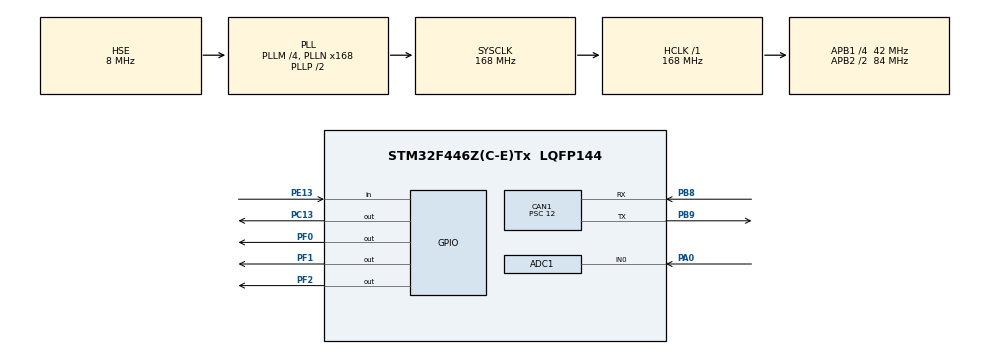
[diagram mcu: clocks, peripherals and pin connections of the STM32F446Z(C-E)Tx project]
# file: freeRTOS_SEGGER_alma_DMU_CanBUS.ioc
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ADC1.Channel-0\#ChannelRegularConversion=ADC_CHANNEL_0
ADC1.NbrOfConversionFlag=1
ADC1.Rank-0\#ChannelRegularConversion=1
ADC1.SamplingTime-0\#ChannelRegularConversion=ADC_SAMPLETIME_3CYCLES
ADC1.master=1
CAN1.BS1=CAN_BS1_11TQ
CAN1.BS2=CAN_BS2_2TQ
CAN1.CalculateBaudRate=250000
CAN1.CalculateTimeBit=4000
CAN1.CalculateTimeQuantum=285.7142857142857
CAN1.Prescaler=12
FREERTOS.Tasks01=defaultTask,24,128,StartDefaultTask,Default,NULL,Dynamic,NULL,NULL;myTask02,16,128,StartTask02,Default,NULL,Dynamic,NULL,NULL;myTask03,16,128,StartTask03,Default,NULL,Dynamic,NULL,NULL
FREERTOS.configUSE_NEWLIB_REENTRANT=1
Mcu.Family=STM32F4
Mcu.Name=STM32F446Z(C-E)Tx
Mcu.Package=LQFP144
NVIC.CAN1_RX0_IRQn=true\:5\:0\:false\:false\:true\:true\:true\:true\:true
NVIC.PriorityGroup=NVIC_PRIORITYGROUP_4
PA0-WKUP.Signal=ADCx_IN0
PA13.Mode=Serial_Wire
PA13.Signal=SYS_JTMS-SWDIO
PA14.Mode=Serial_Wire
PA14.Signal=SYS_JTCK-SWCLK
PB8.Mode=CAN_Activate
PB8.Signal=CAN1_RX
PB9.Mode=CAN_Activate
PB9.Signal=CAN1_TX
PC13.Signal=GPIO_Output
PE13.Signal=GPIO_Input
PF0.Signal=GPIO_Output
PF1.Signal=GPIO_Output
PF2.Signal=GPIO_Output
PH0-OSC_IN.Mode=HSE-External-Oscillator
PH0-OSC_IN.Signal=RCC_OSC_IN
PH1-OSC_OUT.Mode=HSE-External-Oscillator
PH1-OSC_OUT.Signal=RCC_OSC_OUT
ProjectManager.HeapSize=0x200
ProjectManager.StackSize=0x400
ProjectManager.TargetToolchain=STM32CubeIDE
RCC.AHBFreq_Value=168000000
RCC.APB1CLKDivider=RCC_HCLK_DIV4
RCC.APB1Freq_Value=42000000
RCC.APB1TimFreq_Value=84000000
RCC.APB2CLKDivider=RCC_HCLK_DIV2
RCC.APB2Freq_Value=84000000
RCC.APB2TimFreq_Value=168000000
RCC.CortexFreq_Value=168000000
RCC.HCLKFreq_Value=168000000
RCC.HSE_VALUE=8000000
RCC.PLLM=4
RCC.PLLN=168
RCC.PLLSourceVirtual=RCC_PLLSOURCE_HSE
RCC.SYSCLKFreq_VALUE=168000000
RCC.SYSCLKSource=RCC_SYSCLKSOURCE_PLLCLK
RCC.USBFreq_Value=168000000
RCC.VCOOutputFreq_Value=336000000
SH.ADCx_IN0.0=ADC1_IN0,IN0
VP_FREERTOS_VS_CMSIS_V2.Mode=CMSIS_V2
board=custom

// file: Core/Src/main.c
/* USER CODE BEGIN Header */
/**
  ******************************************************************************
  * @file           : main.c
  * @brief          : Main program body
  ******************************************************************************
  * @attention
  *
  * Copyright (c) 2024 STMicroelectronics.
  * All rights reserved.
  *
  * This software is licensed under terms that can be found in the LICENSE file
  * in the root directory of this software component.
  * If no LICENSE file comes with this software, it is provided AS-IS.
  *
  ******************************************************************************
  */
/* USER CODE END Header */
#include "main.h"
#include "cmsis_os.h"

/* USER CODE BEGIN Includes */

#include "FreeRTOS.h"
#include <stdio.h>
#include <stdbool.h>
#include "task.h"
#include "SEGGER_RTT.h"
#include "SEGGER_SYSVIEW_Conf.h"
#include "SEGGER_SYSVIEW.h"

/* USER CODE END Includes */

/* USER CODE BEGIN PD */
CAN_FilterTypeDef sFilterConfig;

/* USER CODE END PD */

ADC_HandleTypeDef hadc1;

CAN_HandleTypeDef hcan1;

/* Definitions for defaultTask */
osThreadId_t defaultTaskHandle;
const osThreadAttr_t defaultTask_attributes = {
  .name = "defaultTask",
  .stack_size = 128 * 4,
  .priority = (osPriority_t) osPriorityNormal,
};
/* Definitions for myTask02 */
osThreadId_t myTask02Handle;
const osThreadAttr_t myTask02_attributes = {
  .name = "myTask02",
  .stack_size = 128 * 4,
  .priority = (osPriority_t) osPriorityBelowNormal,
};
/* Definitions for myTask03 */
osThreadId_t myTask03Handle;
const osThreadAttr_t myTask03_attributes = {
  .name = "myTask03",
  .stack_size = 128 * 4,
  .priority = (osPriority_t) osPriorityBelowNormal,
};

void SystemClock_Config(void);
static void MX_GPIO_Init(void);
static void MX_CAN1_Init(void);
static void MX_ADC1_Init(void);
void StartDefaultTask(void *argument);
void StartTask02(void *argument);
void StartTask03(void *argument);

/* USER CODE BEGIN 0 */

uint32_t amp1_buff1[1];
uint32_t amp1_buff2[1];

typedef struct {
    CAN_TxHeaderTypeDef pTxHeader; // Mesaj başlığı
    CAN_RxHeaderTypeDef RxHeader;

    uint8_t TxData[1];            // Veri
    uint32_t TxMailbox;           // Mailbox ID
    uint8_t RxData[1];            // Alınan veri
    uint16_t feedback_amp;        // Geri bildirim verisi
} CAN_MessageTypeDef;
CAN_MessageTypeDef amp1;

/* USER CODE END 0 */

int main(void)
{
  /* USER CODE BEGIN 1 */
	SEGGER_SYSVIEW_Conf();
	SEGGER_SYSVIEW_Start();
  /* USER CODE END 1 */

  /* MCU Configuration--------------------------------------------------------*/

  /* Reset of all peripherals, Initializes the Flash interface and the Systick. */
  HAL_Init();

  /* Configure the system clock */
//  SystemClock_Config();

  /* USER CODE BEGIN SysInit */
SystemCoreClockUpdate();
  /* USER CODE END SysInit */

  /* Initialize all configured peripherals */
  MX_GPIO_Init();
  MX_CAN1_Init();
  MX_ADC1_Init();
  /* USER CODE BEGIN 2 */
    // start can communication
  HAL_CAN_Start(&hcan1);
    // Activate interrupt

  /* Start the CAN peripheral */

  /* Activate CAN RX notification */
    // set transmit parameter
  amp1.pTxHeader.DLC =8; // 8 bit =1byte
  amp1.pTxHeader.IDE = CAN_ID_STD ;
  amp1.pTxHeader.RTR = CAN_RTR_DATA;
  amp1.pTxHeader.StdId = 0x0000;

  amp1.RxHeader.StdId=0x0000;
  amp1.RxHeader.DLC=8;
  amp1.RxHeader.IDE=CAN_ID_STD;
  amp1.RxHeader.RTR=CAN_RTR_DATA;
  HAL_CAN_ActivateNotification(&hcan1, CAN_IT_RX_FIFO0_MSG_PENDING);
  if (HAL_CAN_ActivateNotification(&hcan1, CAN_IT_RX_FIFO0_MSG_PENDING) != HAL_OK)
  {
    Error_Handler();
  }
  sFilterConfig.FilterBank = 0;
  sFilterConfig.FilterMode = CAN_FILTERMODE_IDMASK;
  sFilterConfig.FilterScale = CAN_FILTERSCALE_32BIT;
  sFilterConfig.FilterIdHigh = 0x0000;
  sFilterConfig.FilterIdLow = 0x0000;
  sFilterConfig.FilterMaskIdHigh =0x0000; // 0xFFF0- 0x0150 dersek yine aynı şeyi yapar
  sFilterConfig.FilterMaskIdLow = 0x0000;
  sFilterConfig.FilterFIFOAssignment = CAN_RX_FIFO0;
  sFilterConfig.FilterActivation = ENABLE;
//  HAL_CAN_GetRxMessage(&hcan1, CAN_RX_FIFO0 , &amp1.RxHeader, &amp1.RxData);
  if (HAL_CAN_ConfigFilter(&hcan1, &sFilterConfig) != HAL_OK)
  {
    Error_Handler();
  }
  HAL_CAN_ConfigFilter(&hcan1, &sFilterConfig);

  /* USER CODE END 2 */

  /* Init scheduler */
  osKernelInitialize();

  /* Create the thread(s) */
  /* creation of defaultTask */
//  defaultTaskHandle = osThreadNew(StartDefaultTask, NULL, &defaultTask_attributes);

  /* creation of myTask02 */
//  myTask02Handle = osThreadNew(StartTask02, NULL, &myTask02_attributes);

  /* creation of myTask03 */
//  myTask03Handle = osThreadNew(StartTask03, NULL, &myTask03_attributes);

  /* USER CODE BEGIN RTOS_THREADS */
  /* add threads, ... */
  xTaskCreate(StartDefaultTask,"myTask01",configMINIMAL_STACK_SIZE, NULL, 4, &defaultTask_attributes);
  xTaskCreate(StartTask02,"myTask02",configMINIMAL_STACK_SIZE, NULL, 4, &myTask02_attributes);

  /* USER CODE END RTOS_THREADS */

  /* Start scheduler */

  /* We should never get here as control is now taken by the scheduler */
  /* Infinite loop */
  /* USER CODE BEGIN WHILE */
  vTaskStartScheduler();

  while (1)
  {
    /* USER CODE END WHILE */

  }
}

void SystemClock_Config(void)
{
  RCC_OscInitTypeDef RCC_OscInitStruct = {0};
  RCC_ClkInitTypeDef RCC_ClkInitStruct = {0};

  /** Configure the main internal regulator output voltage
  */
  __HAL_RCC_PWR_CLK_ENABLE();
  __HAL_PWR_VOLTAGESCALING_CONFIG(PWR_REGULATOR_VOLTAGE_SCALE1);

  /** Initializes the RCC Oscillators according to the specified parameters
  * in the RCC_OscInitTypeDef structure.
  */
  RCC_OscInitStruct.OscillatorType = RCC_OSCILLATORTYPE_HSE;
  RCC_OscInitStruct.HSEState = RCC_HSE_ON;
  RCC_OscInitStruct.PLL.PLLState = RCC_PLL_ON;
  RCC_OscInitStruct.PLL.PLLSource = RCC_PLLSOURCE_HSE;
  RCC_OscInitStruct.PLL.PLLM = 4;
  RCC_OscInitStruct.PLL.PLLN = 168;
  RCC_OscInitStruct.PLL.PLLP = RCC_PLLP_DIV2;
  RCC_OscInitStruct.PLL.PLLQ = 2;
  RCC_OscInitStruct.PLL.PLLR = 2;
  if (HAL_RCC_OscConfig(&RCC_OscInitStruct) != HAL_OK)
  {
    Error_Handler();
  }

  /** Initializes the CPU, AHB and APB buses clocks
  */
  RCC_ClkInitStruct.ClockType = RCC_CLOCKTYPE_HCLK|RCC_CLOCKTYPE_SYSCLK
                              |RCC_CLOCKTYPE_PCLK1|RCC_CLOCKTYPE_PCLK2;
  RCC_ClkInitStruct.SYSCLKSource = RCC_SYSCLKSOURCE_PLLCLK;
  RCC_ClkInitStruct.AHBCLKDivider = RCC_SYSCLK_DIV1;
  RCC_ClkInitStruct.APB1CLKDivider = RCC_HCLK_DIV4;
  RCC_ClkInitStruct.APB2CLKDivider = RCC_HCLK_DIV2;

  if (HAL_RCC_ClockConfig(&RCC_ClkInitStruct, FLASH_LATENCY_5) != HAL_OK)
  {
    Error_Handler();
  }
}

static void MX_ADC1_Init(void)
{

  ADC_ChannelConfTypeDef sConfig = {0};

  /** Configure the global features of the ADC (Clock, Resolution, Data Alignment and number of conversion)
  */
  hadc1.Instance = ADC1;
  hadc1.Init.ClockPrescaler = ADC_CLOCK_SYNC_PCLK_DIV4;
  hadc1.Init.Resolution = ADC_RESOLUTION_12B;
  hadc1.Init.ScanConvMode = DISABLE;
  hadc1.Init.ContinuousConvMode = DISABLE;
  hadc1.Init.DiscontinuousConvMode = DISABLE;
  hadc1.Init.ExternalTrigConvEdge = ADC_EXTERNALTRIGCONVEDGE_NONE;
  hadc1.Init.ExternalTrigConv = ADC_SOFTWARE_START;
  hadc1.Init.DataAlign = ADC_DATAALIGN_RIGHT;
  hadc1.Init.NbrOfConversion = 1;
  hadc1.Init.DMAContinuousRequests = DISABLE;
  hadc1.Init.EOCSelection = ADC_EOC_SINGLE_CONV;
  if (HAL_ADC_Init(&hadc1) != HAL_OK)
  {
    Error_Handler();
  }

  /** Configure for the selected ADC regular channel its corresponding rank in the sequencer and its sample time.
  */
  sConfig.Channel = ADC_CHANNEL_0;
  sConfig.Rank = 1;
  sConfig.SamplingTime = ADC_SAMPLETIME_3CYCLES;
  if (HAL_ADC_ConfigChannel(&hadc1, &sConfig) != HAL_OK)
  {
    Error_Handler();
  }

}

static void MX_CAN1_Init(void)
{

  hcan1.Instance = CAN1;
  hcan1.Init.Prescaler = 12;
  hcan1.Init.Mode = CAN_MODE_NORMAL;
  hcan1.Init.SyncJumpWidth = CAN_SJW_1TQ;
  hcan1.Init.TimeSeg1 = CAN_BS1_11TQ;
  hcan1.Init.TimeSeg2 = CAN_BS2_2TQ;
  hcan1.Init.TimeTriggeredMode = DISABLE;
  hcan1.Init.AutoBusOff = DISABLE;
  hcan1.Init.AutoWakeUp = DISABLE;
  hcan1.Init.AutoRetransmission = DISABLE;
  hcan1.Init.ReceiveFifoLocked = DISABLE;
  hcan1.Init.TransmitFifoPriority = DISABLE;
  if (HAL_CAN_Init(&hcan1) != HAL_OK)
  {
    Error_Handler();
  }
  /* USER CODE BEGIN CAN1_Init 2 */
	sFilterConfig.FilterBank = 0;                            // value between 0 to 13 for JUST Master Mode (CAN1)
	sFilterConfig.FilterMode = CAN_FILTERMODE_IDMASK;       // for filtering Identifiers
	sFilterConfig.FilterScale = CAN_FILTERSCALE_32BIT;     // for Scaling filtering (if use EXTENDED CAN this must be 32BIT)
	sFilterConfig.FilterIdHigh =0;         				  // First Identifier MSB value for receiving in IDLIST Mode for 32BIT Scaling
	sFilterConfig.FilterIdLow = 0;                   	 // First Identifier LSB value for receiving in IDLIST Mode for 32BIT Scaling
	sFilterConfig.FilterMaskIdHigh = 0;                 // Second Identifier MSB value for receiving in IDLIST Mode for 32BIT Scaling
	sFilterConfig.FilterMaskIdLow = 0;                 // Second Identifier LSB value for receiving in IDLIST Mode for 32BIT Scaling
	sFilterConfig.FilterFIFOAssignment = CAN_RX_FIFO0;// specify FIFO0 or FIFO1
	sFilterConfig.FilterActivation = ENABLE;		 // Enable filtering
	sFilterConfig.SlaveStartFilterBank = 14;
	  if (HAL_CAN_ConfigFilter(&hcan1, &sFilterConfig) != HAL_OK)
	  {
	    Error_Handler();
	  }

  /* USER CODE END CAN1_Init 2 */

}

static void MX_GPIO_Init(void)
{
  GPIO_InitTypeDef GPIO_InitStruct = {0};

  /* GPIO Ports Clock Enable */
  __HAL_RCC_GPIOC_CLK_ENABLE();
  __HAL_RCC_GPIOF_CLK_ENABLE();
  __HAL_RCC_GPIOH_CLK_ENABLE();
  __HAL_RCC_GPIOA_CLK_ENABLE();
  __HAL_RCC_GPIOE_CLK_ENABLE();
  __HAL_RCC_GPIOB_CLK_ENABLE();

  /*Configure GPIO pin Output Level */
  HAL_GPIO_WritePin(GPIOC, GPIO_PIN_13, GPIO_PIN_RESET);

  /*Configure GPIO pin Output Level */
  HAL_GPIO_WritePin(GPIOF, GPIO_PIN_0|GPIO_PIN_1|GPIO_PIN_2, GPIO_PIN_RESET);

  /*Configure GPIO pin : PC13 */
  GPIO_InitStruct.Pin = GPIO_PIN_13;
  GPIO_InitStruct.Mode = GPIO_MODE_OUTPUT_PP;
  GPIO_InitStruct.Pull = GPIO_NOPULL;
  GPIO_InitStruct.Speed = GPIO_SPEED_FREQ_LOW;
  HAL_GPIO_Init(GPIOC, &GPIO_InitStruct);

  /*Configure GPIO pins : PF0 PF1 PF2 */
  GPIO_InitStruct.Pin = GPIO_PIN_0|GPIO_PIN_1|GPIO_PIN_2;
  GPIO_InitStruct.Mode = GPIO_MODE_OUTPUT_PP;
  GPIO_InitStruct.Pull = GPIO_NOPULL;
  GPIO_InitStruct.Speed = GPIO_SPEED_FREQ_LOW;
  HAL_GPIO_Init(GPIOF, &GPIO_InitStruct);

  /*Configure GPIO pin : PE13 */
  GPIO_InitStruct.Pin = GPIO_PIN_13;
  GPIO_InitStruct.Mode = GPIO_MODE_INPUT;
  GPIO_InitStruct.Pull = GPIO_NOPULL;
  HAL_GPIO_Init(GPIOE, &GPIO_InitStruct);

}

/* USER CODE BEGIN 4 */
void HAL_CAN_RxFifo0MsgPendingCallback(CAN_HandleTypeDef *hcan)
{
	if (HAL_CAN_GetRxMessage(&hcan1, CAN_RX_FIFO0 , &amp1.RxHeader, &amp1.RxData) == HAL_OK)
  {
//    // Handle received message
////		  HAL_GPIO_WritePin(GPIOF, GPIO_PIN_0, GPIO_PIN_SET);
////		  HAL_Delay(500);
////		  HAL_GPIO_WritePin(GPIOF, GPIO_PIN_0, GPIO_PIN_RESET);
////		  HAL_Delay(500);
//
  }
}
/* USER CODE END 4 */

void StartDefaultTask(void *argument)
{
  /* USER CODE BEGIN 5 */
  /* Infinite loop */
  for(;;)
  {

//    osDelay(1000);
  }
  /* USER CODE END 5 */
}

void StartTask02(void *argument)
{
  /* USER CODE BEGIN StartTask02 */
//    HAL_CAN_GetRxMessage(&hcan1, CAN_RX_FIFO0 , &amp1.RxHeader, &amp1.RxData);

//  /* Infinite loop */
  for(;;)
  {
	  HAL_CAN_GetRxMessage(&hcan1, CAN_RX_FIFO0 , &amp1.RxHeader, &amp1.RxData);

  osDelay(1000);
  }
  /* USER CODE END StartTask02 */
}

void StartTask03(void *argument)
{
  /* USER CODE BEGIN StartTask03 */
//  /* Infinite loop */
//  for(;;)
//  {
//    osDelay(1);
//  }
  /* USER CODE END StartTask03 */
}

void Error_Handler(void)
{
	__disable_irq();
	while (1)
	{
	}
}
